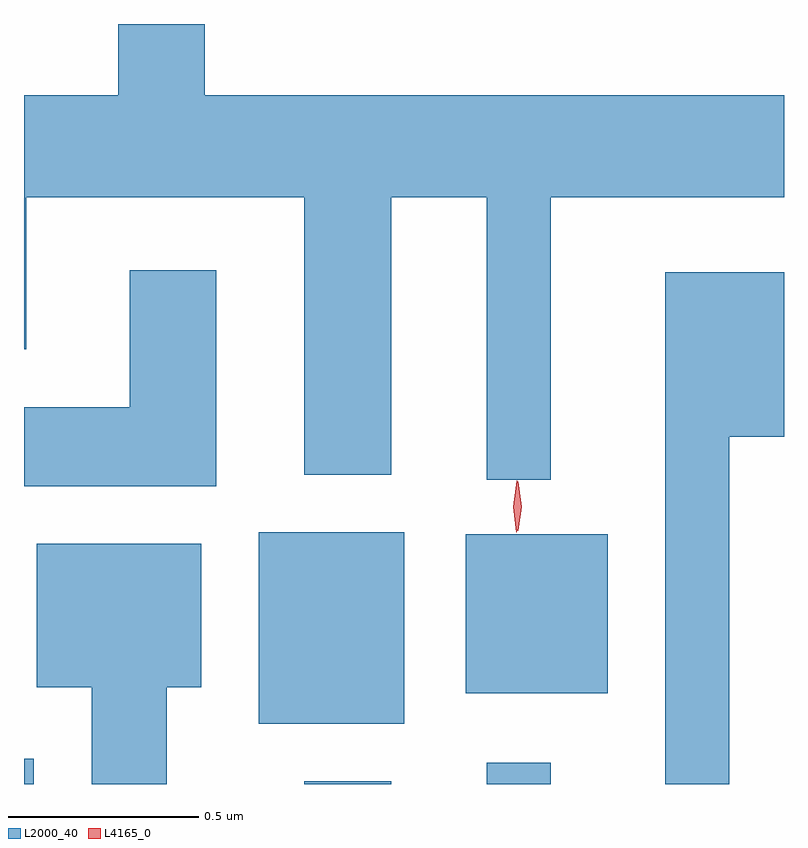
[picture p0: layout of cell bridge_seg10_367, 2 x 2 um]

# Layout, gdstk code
import gdstk
lib = gdstk.Library(unit=1e-6, precision=1e-09)
def R(c, l, rs):  # rectangles x0, y0, x1, y1
    for r in rs: c.add(gdstk.rectangle(r[:2], r[2:], *l))
def P(c, l, *ps):  # polygons
    for p in ps: c.add(gdstk.Polygon(p, *l))
L2000_40 = (2000, 40)
L4165_0 = (4165, 0)

bridge_seg10_367 = lib.new_cell('bridge_seg10_367')
R(bridge_seg10_367, L2000_40, [(1264.933,2156.772,1264.959,2156.839), (1265.671,2156.772,1265.899,2156.779), (1266.151,2156.772,1266.319,2156.828), (1265.551,2156.931,1265.934,2157.434), (1266.096,2157.011,1266.469,2157.429)])
P(bridge_seg10_367, L2000_40, [(1266.319,2158.316),(1266.933,2158.316),(1266.933,2158.584),(1265.409,2158.584),(1265.409,2158.772),(1265.181,2158.772),(1265.181,2158.584),(1264.933,2158.584),(1264.933,2157.916),(1264.939,2157.916),(1264.939,2158.316),(1265.671,2158.316),(1265.671,2157.586),(1265.899,2157.586),(1265.899,2158.316),(1266.151,2158.316),(1266.151,2157.573),(1266.319,2157.573)],
  [(1265.439,2158.124),(1265.211,2158.124),(1265.211,2157.764),(1264.933,2157.764),(1264.933,2157.556),(1265.439,2157.556)],
  [(1266.789,2157.686),(1266.933,2157.686),(1266.933,2158.119),(1266.621,2158.119),(1266.621,2156.772),(1266.789,2156.772)],
  [(1265.309,2157.026),(1265.399,2157.026),(1265.399,2157.404),(1264.966,2157.404),(1264.966,2157.026),(1265.111,2157.026),(1265.111,2156.772),(1265.309,2156.772)])
P(bridge_seg10_367, L4165_0, [(1266.229,2157.434),(1266.22,2157.502),(1266.23,2157.57),(1266.231,2157.57),(1266.231,2157.57),(1266.24,2157.502),(1266.23,2157.434),(1266.23,2157.434)],
  [(1266.232,2157.438),(1266.223,2157.502),(1266.232,2157.567),(1266.233,2157.567),(1266.234,2157.567),(1266.243,2157.502),(1266.234,2157.438),(1266.233,2157.438)])

lib.write_gds('bridge_seg10_367.gds')
